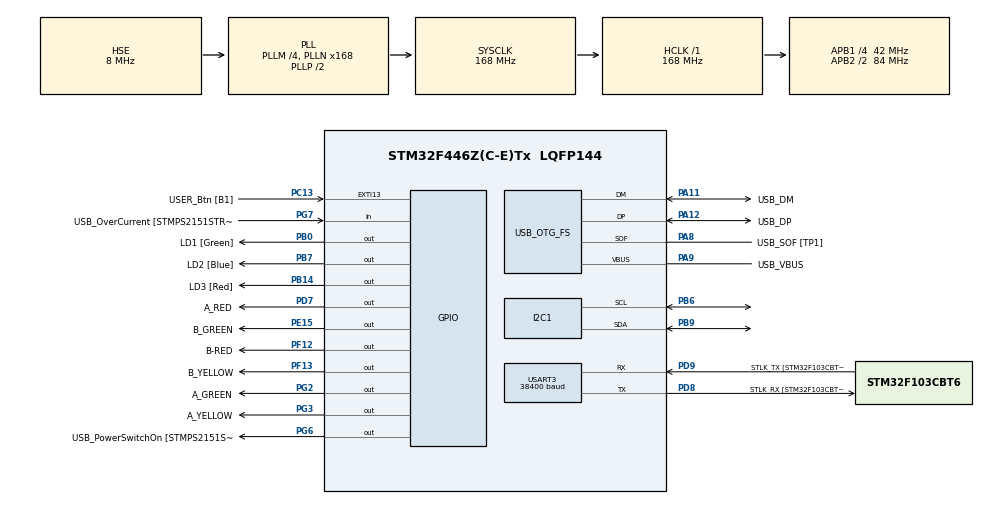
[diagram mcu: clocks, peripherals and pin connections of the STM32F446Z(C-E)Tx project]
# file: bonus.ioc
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Mcu.Family=STM32F4
Mcu.Name=STM32F446Z(C-E)Tx
Mcu.Package=LQFP144
NVIC.PriorityGroup=NVIC_PRIORITYGROUP_4
NVIC.TIM6_DAC_IRQn=true\:0\:0\:false\:false\:true\:true\:true\:true
PA10.GPIO_Label=USB_ID
PA10.Signal=USB_OTG_FS_ID
PA11.GPIO_Label=USB_DM
PA11.Mode=Device_Only
PA11.Signal=USB_OTG_FS_DM
PA12.GPIO_Label=USB_DP
PA12.Mode=Device_Only
PA12.Signal=USB_OTG_FS_DP
PA13.GPIO_Label=TMS
PA13.Mode=Serial_Wire
PA13.Signal=SYS_JTMS-SWDIO
PA14.GPIO_Label=TCK
PA14.Mode=Serial_Wire
PA14.Signal=SYS_JTCK-SWCLK
PA8.GPIO_Label=USB_SOF [TP1]
PA8.Mode=Activate_SOF_FS
PA8.Signal=USB_OTG_FS_SOF
PA9.GPIO_Label=USB_VBUS
PA9.Mode=Activate_VBUS
PA9.Signal=USB_OTG_FS_VBUS
PB0.GPIO_Label=LD1 [Green]
PB0.Signal=GPIO_Output
PB14.GPIO_Label=LD3 [Red]
PB14.Signal=GPIO_Output
PB6.Mode=I2C
PB6.Signal=I2C1_SCL
PB7.GPIO_Label=LD2 [Blue]
PB7.Signal=GPIO_Output
PB9.Mode=I2C
PB9.Signal=I2C1_SDA
PC13.GPIO_Label=USER_Btn [B1]
PC13.Signal=GPXTI13
PC14-OSC32_IN.Mode=LSE-External-Oscillator
PC14-OSC32_IN.Signal=RCC_OSC32_IN
PC15-OSC32_OUT.Mode=LSE-External-Oscillator
PC15-OSC32_OUT.Signal=RCC_OSC32_OUT
PD7.GPIO_Label=A_RED
PD7.GPIO_Speed=GPIO_SPEED_FREQ_VERY_HIGH
PD7.Signal=GPIO_Output
PD8.GPIO_Label=STLK_RX [STM32F103CBT6_PA3]
PD8.Mode=Asynchronous
PD8.Signal=USART3_TX
PD9.GPIO_Label=STLK_TX [STM32F103CBT6_PA2]
PD9.Mode=Asynchronous
PD9.Signal=USART3_RX
PE15.GPIO_Label=B_GREEN
PE15.GPIO_Speed=GPIO_SPEED_FREQ_VERY_HIGH
PE15.Signal=GPIO_Output
PF12.GPIO_Label=B-RED
PF12.GPIO_Speed=GPIO_SPEED_FREQ_VERY_HIGH
PF12.Signal=GPIO_Output
PF13.GPIO_Label=B_YELLOW
PF13.GPIO_Speed=GPIO_SPEED_FREQ_VERY_HIGH
PF13.Signal=GPIO_Output
PG2.GPIO_Label=A_GREEN
PG2.GPIO_Speed=GPIO_SPEED_FREQ_VERY_HIGH
PG2.Signal=GPIO_Output
PG3.GPIO_Label=A_YELLOW
PG3.GPIO_Speed=GPIO_SPEED_FREQ_VERY_HIGH
PG3.Signal=GPIO_Output
PG6.GPIO_Label=USB_PowerSwitchOn [STMPS2151STR_EN]
PG6.Signal=GPIO_Output
PG7.GPIO_Label=USB_OverCurrent [STMPS2151STR_FAULT]
PG7.Signal=GPIO_Input
PH0-OSC_IN.GPIO_Label=MCO [STM32F103CBT6_PA8]
PH0-OSC_IN.Mode=HSE-External-Clock-Source
PH0-OSC_IN.Signal=RCC_OSC_IN
PH1-OSC_OUT.Mode=HSE-External-Clock-Source
PH1-OSC_OUT.Signal=RCC_OSC_OUT
ProjectManager.HeapSize=0x200
ProjectManager.StackSize=0x400
ProjectManager.TargetToolchain=STM32CubeIDE
RCC.48MHZClocksFreq_Value=24000000
RCC.AHBFreq_Value=168000000
RCC.APB1CLKDivider=RCC_HCLK_DIV4
RCC.APB1Freq_Value=42000000
RCC.APB1TimFreq_Value=84000000
RCC.APB2CLKDivider=RCC_HCLK_DIV2
RCC.APB2Freq_Value=84000000
RCC.APB2TimFreq_Value=168000000
RCC.CortexFreq_Value=168000000
RCC.HCLKFreq_Value=168000000
RCC.HSE_VALUE=8000000
RCC.HSI_VALUE=16000000
RCC.PLLM=4
RCC.PLLMUL=RCC_PLL_MUL9
RCC.PLLN=168
RCC.PLLQ=7
RCC.PRESCALERUSB=RCC_USBCLKSOURCE_PLL_DIV1_5
RCC.SYSCLKFreq_VALUE=168000000
RCC.SYSCLKSource=RCC_SYSCLKSOURCE_PLLCLK
RCC.SYSCLKSourceVirtual=RCC_SYSCLKSOURCE_PLLCLK
RCC.USBFreq_Value=48000000
RCC.VCOOutputFreq_Value=336000000
TIM6.Period=5250-1
TIM6.Prescaler=16000-1
USART3.BaudRate=38400
USART3.VirtualMode=VM_ASYNC
USB_OTG_FS.VirtualMode=Device_Only
VP_TIM6_VS_ClockSourceINT.Mode=Enable_Timer
board=NUCLEO-F446ZE

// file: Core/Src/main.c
/* USER CODE BEGIN Header */
/**
  ******************************************************************************
  * @file           : main.c
  * @brief          : Main program body
  ******************************************************************************
  * @attention
  *
  * Copyright (c) 2024 STMicroelectronics.
  * All rights reserved.
  *
  * This software is licensed under terms that can be found in the LICENSE file
  * in the root directory of this software component.
  * If no LICENSE file comes with this software, it is provided AS-IS.
  *
  ******************************************************************************
  */
/* USER CODE END Header */
#include "main.h"

I2C_HandleTypeDef hi2c1;

TIM_HandleTypeDef htim6;

UART_HandleTypeDef huart3;

PCD_HandleTypeDef hpcd_USB_OTG_FS;

void SystemClock_Config(void);
static void MX_GPIO_Init(void);
static void MX_I2C1_Init(void);
static void MX_USART3_UART_Init(void);
static void MX_USB_OTG_FS_PCD_Init(void);
static void MX_TIM6_Init(void);

/* USER CODE BEGIN 0 */
struct State;

struct State* A_Road_Current_State;
struct State* B_Road_Current_State;

struct State A_Green_State;
struct State A_Yellow_State;
struct State A_Red_State;

struct State B_Green_State;
struct State B_Yellow_State;
struct State B_Red_State;

int A_Red = 0;
int A_Yellow = 0;
int A_Green = 0;

int B_Red = 0;
int B_Yellow = 0;
int B_Green = 0;
/* USER CODE END 0 */

int main(void)
{

  /* MCU Configuration--------------------------------------------------------*/

  /* Reset of all peripherals, Initializes the Flash interface and the Systick. */
  HAL_Init();

  /* Configure the system clock */
  SystemClock_Config();

  /* USER CODE BEGIN SysInit */
  //HAL_GPIO_TogglePin(GPIOG, A_GREEN_Pin);
  //HAL_GPIO_TogglePin(GPIOG, A_YELLOW_Pin);
  //HAL_GPIO_TogglePin(A_RED_GPIO_Port, A_RED_Pin);
  /* USER CODE END SysInit */

  /* Initialize all configured peripherals */
  MX_GPIO_Init();
  MX_I2C1_Init();
  MX_USART3_UART_Init();
  MX_USB_OTG_FS_PCD_Init();
  MX_TIM6_Init();
  /* USER CODE BEGIN 2 */

  //Set Up States
  A_Green_State.mode = 'G';
  A_Green_State.maxTick = 10;
  A_Green_State.currentTick = 0;
  A_Green_State.nextState = &A_Yellow_State;

  A_Yellow_State.mode = 'Y';
  A_Yellow_State.maxTick = 2;
  A_Yellow_State.currentTick = 0;
  A_Yellow_State.nextState = &A_Red_State;

  A_Red_State.mode = 'R';
  A_Red_State.maxTick = 12;
  A_Red_State.currentTick = 0;
  A_Red_State.nextState = &A_Green_State;

  	B_Green_State.mode = 'G';
	B_Green_State.maxTick = 10;
	B_Green_State.currentTick = 0;
	B_Green_State.nextState = &B_Yellow_State;

	B_Yellow_State.mode = 'Y';
	B_Yellow_State.maxTick = 2;
	B_Yellow_State.currentTick = 0;
	B_Yellow_State.nextState = &B_Red_State;

	B_Red_State.mode = 'R';
	B_Red_State.maxTick = 12;
	B_Red_State.currentTick = 0;
	B_Red_State.nextState = &B_Green_State;

  A_Road_Current_State = &A_Green_State;
  A_Green = 1;
  HAL_GPIO_TogglePin(GPIOG, A_GREEN_Pin);

  B_Road_Current_State = &B_Red_State;
  B_Red = 1;
  HAL_GPIO_TogglePin(GPIOF, B_RED_Pin);

  //Start Clock
  HAL_TIM_Base_Start_IT(&htim6);
  /* USER CODE END 2 */

  /* Infinite loop */
  /* USER CODE BEGIN WHILE */
  while (1)
  {
	  //Update A
	  if (A_Road_Current_State->mode == 'G') {
	  		  if (A_Green != 1) {
	  			  HAL_GPIO_TogglePin(GPIOG, A_GREEN_Pin);
	  			  HAL_GPIO_TogglePin(A_RED_GPIO_Port, A_RED_Pin);
	  			  A_Red = 0;
	  			  A_Green = 1;
	  		  }
	  	  } else if (A_Road_Current_State->mode == 'Y') {
	  		  if (A_Yellow != 1) {
	  			  HAL_GPIO_TogglePin(GPIOG, A_YELLOW_Pin);
	  			  HAL_GPIO_TogglePin(GPIOG, A_GREEN_Pin);
	  			  A_Green = 0;
	  			  A_Yellow = 1;
	  		  }
	  	  } else if (A_Road_Current_State->mode == 'R') {
	  		  if (A_Red != 1) {
	  			  HAL_GPIO_TogglePin(A_RED_GPIO_Port, A_RED_Pin);
	  			  HAL_GPIO_TogglePin(GPIOG, A_YELLOW_Pin);
	  			  A_Yellow = 0;
	  			  A_Red = 1;
	  		  }
	  	  }

	  	  //Update B
	  	  if (B_Road_Current_State->mode == 'G') {
	  	  		  if (B_Green != 1) {
	  	  			  HAL_GPIO_TogglePin(B_GREEN_GPIO_Port, B_GREEN_Pin);
	  	  			  HAL_GPIO_TogglePin(GPIOF, B_RED_Pin);
	  	  			  B_Red = 0;
	  	  			  B_Green = 1;
	  	  		  }
	  	  	  } else if (B_Road_Current_State->mode == 'Y') {
	  	  		  if (B_Yellow != 1) {
	  	  			  HAL_GPIO_TogglePin(GPIOF, B_YELLOW_Pin);
	  	  			  HAL_GPIO_TogglePin(B_GREEN_GPIO_Port, B_GREEN_Pin);
	  	  			  B_Green = 0;
	  	  			  B_Yellow = 1;
	  	  		  }
	  	  	  } else if (B_Road_Current_State->mode == 'R') {
	  	  		  if (B_Red != 1) {
	  	  			  HAL_GPIO_TogglePin(GPIOF, B_RED_Pin);
	  	  			  HAL_GPIO_TogglePin(GPIOF, B_YELLOW_Pin);
	  	  			  B_Yellow = 0;
	  	  			  B_Red = 1;
	  	  		  }
	  	  	  }

	  	  //WAIT
	  	  HAL_Delay(1);
    /* USER CODE END WHILE */

  }
}

void SystemClock_Config(void)
{
  RCC_OscInitTypeDef RCC_OscInitStruct = {0};
  RCC_ClkInitTypeDef RCC_ClkInitStruct = {0};

  /** Configure the main internal regulator output voltage
  */
  __HAL_RCC_PWR_CLK_ENABLE();
  __HAL_PWR_VOLTAGESCALING_CONFIG(PWR_REGULATOR_VOLTAGE_SCALE1);

  /** Initializes the RCC Oscillators according to the specified parameters
  * in the RCC_OscInitTypeDef structure.
  */
  RCC_OscInitStruct.OscillatorType = RCC_OSCILLATORTYPE_HSE;
  RCC_OscInitStruct.HSEState = RCC_HSE_BYPASS;
  RCC_OscInitStruct.PLL.PLLState = RCC_PLL_ON;
  RCC_OscInitStruct.PLL.PLLSource = RCC_PLLSOURCE_HSE;
  RCC_OscInitStruct.PLL.PLLM = 4;
  RCC_OscInitStruct.PLL.PLLN = 168;
  RCC_OscInitStruct.PLL.PLLP = RCC_PLLP_DIV2;
  RCC_OscInitStruct.PLL.PLLQ = 7;
  RCC_OscInitStruct.PLL.PLLR = 2;
  if (HAL_RCC_OscConfig(&RCC_OscInitStruct) != HAL_OK)
  {
    Error_Handler();
  }

  /** Initializes the CPU, AHB and APB buses clocks
  */
  RCC_ClkInitStruct.ClockType = RCC_CLOCKTYPE_HCLK|RCC_CLOCKTYPE_SYSCLK
                              |RCC_CLOCKTYPE_PCLK1|RCC_CLOCKTYPE_PCLK2;
  RCC_ClkInitStruct.SYSCLKSource = RCC_SYSCLKSOURCE_PLLCLK;
  RCC_ClkInitStruct.AHBCLKDivider = RCC_SYSCLK_DIV1;
  RCC_ClkInitStruct.APB1CLKDivider = RCC_HCLK_DIV4;
  RCC_ClkInitStruct.APB2CLKDivider = RCC_HCLK_DIV2;

  if (HAL_RCC_ClockConfig(&RCC_ClkInitStruct, FLASH_LATENCY_5) != HAL_OK)
  {
    Error_Handler();
  }
}

static void MX_I2C1_Init(void)
{

  hi2c1.Instance = I2C1;
  hi2c1.Init.ClockSpeed = 100000;
  hi2c1.Init.DutyCycle = I2C_DUTYCYCLE_2;
  hi2c1.Init.OwnAddress1 = 0;
  hi2c1.Init.AddressingMode = I2C_ADDRESSINGMODE_7BIT;
  hi2c1.Init.DualAddressMode = I2C_DUALADDRESS_DISABLE;
  hi2c1.Init.OwnAddress2 = 0;
  hi2c1.Init.GeneralCallMode = I2C_GENERALCALL_DISABLE;
  hi2c1.Init.NoStretchMode = I2C_NOSTRETCH_DISABLE;
  if (HAL_I2C_Init(&hi2c1) != HAL_OK)
  {
    Error_Handler();
  }

}

static void MX_TIM6_Init(void)
{

  TIM_MasterConfigTypeDef sMasterConfig = {0};

  htim6.Instance = TIM6;
  htim6.Init.Prescaler = 16000-1;
  htim6.Init.CounterMode = TIM_COUNTERMODE_UP;
  htim6.Init.Period = 5250-1;
  htim6.Init.AutoReloadPreload = TIM_AUTORELOAD_PRELOAD_DISABLE;
  if (HAL_TIM_Base_Init(&htim6) != HAL_OK)
  {
    Error_Handler();
  }
  sMasterConfig.MasterOutputTrigger = TIM_TRGO_RESET;
  sMasterConfig.MasterSlaveMode = TIM_MASTERSLAVEMODE_DISABLE;
  if (HAL_TIMEx_MasterConfigSynchronization(&htim6, &sMasterConfig) != HAL_OK)
  {
    Error_Handler();
  }

}

static void MX_USART3_UART_Init(void)
{

  huart3.Instance = USART3;
  huart3.Init.BaudRate = 38400;
  huart3.Init.WordLength = UART_WORDLENGTH_8B;
  huart3.Init.StopBits = UART_STOPBITS_1;
  huart3.Init.Parity = UART_PARITY_NONE;
  huart3.Init.Mode = UART_MODE_TX_RX;
  huart3.Init.HwFlowCtl = UART_HWCONTROL_NONE;
  huart3.Init.OverSampling = UART_OVERSAMPLING_16;
  if (HAL_UART_Init(&huart3) != HAL_OK)
  {
    Error_Handler();
  }

}

static void MX_USB_OTG_FS_PCD_Init(void)
{

  hpcd_USB_OTG_FS.Instance = USB_OTG_FS;
  hpcd_USB_OTG_FS.Init.dev_endpoints = 6;
  hpcd_USB_OTG_FS.Init.speed = PCD_SPEED_FULL;
  hpcd_USB_OTG_FS.Init.dma_enable = DISABLE;
  hpcd_USB_OTG_FS.Init.phy_itface = PCD_PHY_EMBEDDED;
  hpcd_USB_OTG_FS.Init.Sof_enable = ENABLE;
  hpcd_USB_OTG_FS.Init.low_power_enable = DISABLE;
  hpcd_USB_OTG_FS.Init.lpm_enable = DISABLE;
  hpcd_USB_OTG_FS.Init.vbus_sensing_enable = ENABLE;
  hpcd_USB_OTG_FS.Init.use_dedicated_ep1 = DISABLE;
  if (HAL_PCD_Init(&hpcd_USB_OTG_FS) != HAL_OK)
  {
    Error_Handler();
  }

}

static void MX_GPIO_Init(void)
{
  GPIO_InitTypeDef GPIO_InitStruct = {0};

  /* GPIO Ports Clock Enable */
  __HAL_RCC_GPIOC_CLK_ENABLE();
  __HAL_RCC_GPIOH_CLK_ENABLE();
  __HAL_RCC_GPIOB_CLK_ENABLE();
  __HAL_RCC_GPIOF_CLK_ENABLE();
  __HAL_RCC_GPIOE_CLK_ENABLE();
  __HAL_RCC_GPIOD_CLK_ENABLE();
  __HAL_RCC_GPIOG_CLK_ENABLE();
  __HAL_RCC_GPIOA_CLK_ENABLE();

  /*Configure GPIO pin Output Level */
  HAL_GPIO_WritePin(GPIOB, LD1_Pin|LD3_Pin|LD2_Pin, GPIO_PIN_RESET);

  /*Configure GPIO pin Output Level */
  HAL_GPIO_WritePin(GPIOF, B_RED_Pin|B_YELLOW_Pin, GPIO_PIN_RESET);

  /*Configure GPIO pin Output Level */
  HAL_GPIO_WritePin(B_GREEN_GPIO_Port, B_GREEN_Pin, GPIO_PIN_RESET);

  /*Configure GPIO pin Output Level */
  HAL_GPIO_WritePin(GPIOG, A_GREEN_Pin|A_YELLOW_Pin|USB_PowerSwitchOn_Pin, GPIO_PIN_RESET);

  /*Configure GPIO pin Output Level */
  HAL_GPIO_WritePin(A_RED_GPIO_Port, A_RED_Pin, GPIO_PIN_RESET);

  /*Configure GPIO pin : USER_Btn_Pin */
  GPIO_InitStruct.Pin = USER_Btn_Pin;
  GPIO_InitStruct.Mode = GPIO_MODE_IT_RISING;
  GPIO_InitStruct.Pull = GPIO_NOPULL;
  HAL_GPIO_Init(USER_Btn_GPIO_Port, &GPIO_InitStruct);

  /*Configure GPIO pins : LD1_Pin LD3_Pin LD2_Pin */
  GPIO_InitStruct.Pin = LD1_Pin|LD3_Pin|LD2_Pin;
  GPIO_InitStruct.Mode = GPIO_MODE_OUTPUT_PP;
  GPIO_InitStruct.Pull = GPIO_NOPULL;
  GPIO_InitStruct.Speed = GPIO_SPEED_FREQ_LOW;
  HAL_GPIO_Init(GPIOB, &GPIO_InitStruct);

  /*Configure GPIO pins : B_RED_Pin B_YELLOW_Pin */
  GPIO_InitStruct.Pin = B_RED_Pin|B_YELLOW_Pin;
  GPIO_InitStruct.Mode = GPIO_MODE_OUTPUT_PP;
  GPIO_InitStruct.Pull = GPIO_NOPULL;
  GPIO_InitStruct.Speed = GPIO_SPEED_FREQ_VERY_HIGH;
  HAL_GPIO_Init(GPIOF, &GPIO_InitStruct);

  /*Configure GPIO pin : B_GREEN_Pin */
  GPIO_InitStruct.Pin = B_GREEN_Pin;
  GPIO_InitStruct.Mode = GPIO_MODE_OUTPUT_PP;
  GPIO_InitStruct.Pull = GPIO_NOPULL;
  GPIO_InitStruct.Speed = GPIO_SPEED_FREQ_VERY_HIGH;
  HAL_GPIO_Init(B_GREEN_GPIO_Port, &GPIO_InitStruct);

  /*Configure GPIO pins : A_GREEN_Pin A_YELLOW_Pin */
  GPIO_InitStruct.Pin = A_GREEN_Pin|A_YELLOW_Pin;
  GPIO_InitStruct.Mode = GPIO_MODE_OUTPUT_PP;
  GPIO_InitStruct.Pull = GPIO_NOPULL;
  GPIO_InitStruct.Speed = GPIO_SPEED_FREQ_VERY_HIGH;
  HAL_GPIO_Init(GPIOG, &GPIO_InitStruct);

  /*Configure GPIO pin : USB_PowerSwitchOn_Pin */
  GPIO_InitStruct.Pin = USB_PowerSwitchOn_Pin;
  GPIO_InitStruct.Mode = GPIO_MODE_OUTPUT_PP;
  GPIO_InitStruct.Pull = GPIO_NOPULL;
  GPIO_InitStruct.Speed = GPIO_SPEED_FREQ_LOW;
  HAL_GPIO_Init(USB_PowerSwitchOn_GPIO_Port, &GPIO_InitStruct);

  /*Configure GPIO pin : USB_OverCurrent_Pin */
  GPIO_InitStruct.Pin = USB_OverCurrent_Pin;
  GPIO_InitStruct.Mode = GPIO_MODE_INPUT;
  GPIO_InitStruct.Pull = GPIO_NOPULL;
  HAL_GPIO_Init(USB_OverCurrent_GPIO_Port, &GPIO_InitStruct);

  /*Configure GPIO pin : A_RED_Pin */
  GPIO_InitStruct.Pin = A_RED_Pin;
  GPIO_InitStruct.Mode = GPIO_MODE_OUTPUT_PP;
  GPIO_InitStruct.Pull = GPIO_NOPULL;
  GPIO_InitStruct.Speed = GPIO_SPEED_FREQ_VERY_HIGH;
  HAL_GPIO_Init(A_RED_GPIO_Port, &GPIO_InitStruct);

}

void Error_Handler(void)
{
  __disable_irq();
  while (1)
  {
  }
}
